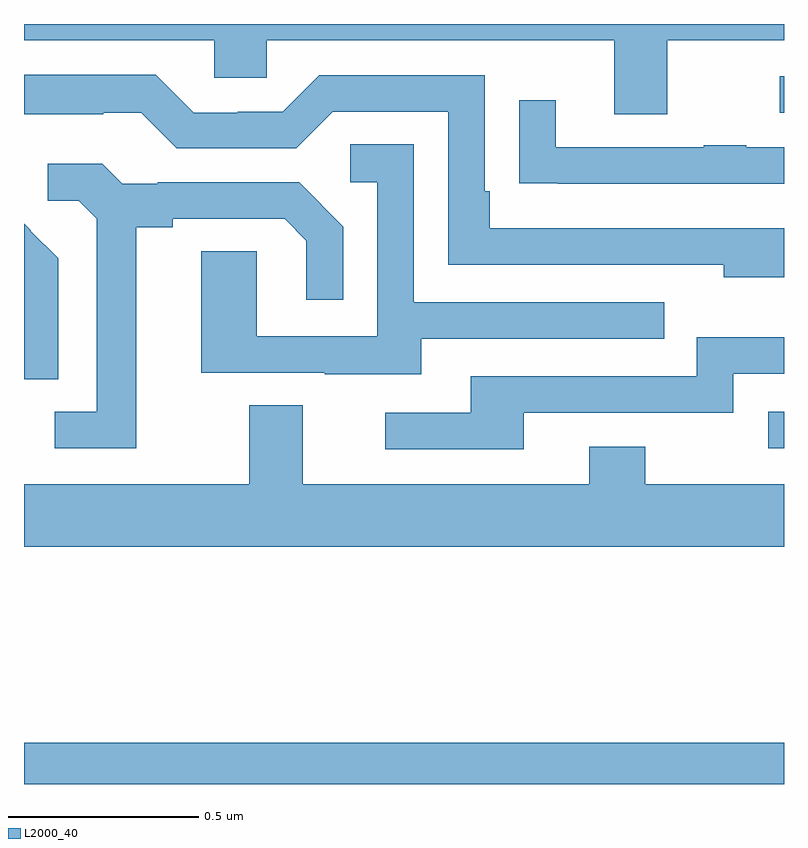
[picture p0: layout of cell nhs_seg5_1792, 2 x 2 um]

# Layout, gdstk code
import gdstk
lib = gdstk.Library(unit=1e-6, precision=1e-09)
def R(c, l, rs):  # rectangles x0, y0, x1, y1
    for r in rs: c.add(gdstk.rectangle(r[:2], r[2:], *l))
def P(c, l, *ps):  # polygons
    for p in ps: c.add(gdstk.Polygon(p, *l))
L2000_40 = (2000, 40)

nhs_seg5_1792 = lib.new_cell('nhs_seg5_1792')
R(nhs_seg5_1792, L2000_40, [(135,858.799,137,858.908), (136.959,859.683,137,859.779), (136.989,860.565,137,860.661)])
P(nhs_seg5_1792, L2000_40, [(136.693,860.756),(137,860.756),(137,860.799),(135,860.799),(135,860.756),(135.501,860.756),(135.501,860.658),(135.639,860.658),(135.639,860.756),(136.553,860.756),(136.553,860.562),(136.693,860.562)],
  [(137,860.262),(136.225,860.262),(136.225,860.359),(136.212,860.359),(136.212,860.664),(135.777,860.664),(135.681,860.568),(135.563,860.568),(135.563,860.565),(135.447,860.565),(135.347,860.665),(135,860.665),(135,860.561),(135.209,860.561),(135.209,860.565),(135.309,860.565),(135.402,860.472),(135.717,860.472),(135.813,860.568),(136.116,860.568),(136.116,860.166),(136.841,860.166),(136.841,860.132),(137,860.132)],
  [(137,860.475),(136.901,860.475),(136.901,860.48),(136.789,860.48),(136.789,860.475),(136.399,860.475),(136.399,860.599),(136.303,860.599),(136.303,860.38),(136.405,860.38),(136.405,860.379),(137,860.379)],
  [(136.045,859.971),(136.685,859.971),(136.685,860.067),(136.026,860.067),(136.026,860.483),(135.858,860.483),(135.858,860.382),(135.93,860.382),(135.93,859.977),(135.612,859.977),(135.612,860.201),(135.467,860.201),(135.467,859.881),(135.791,859.881),(135.791,859.877),(136.045,859.877)],
  [(135.295,860.264),(135.391,860.264),(135.391,860.286),(135.686,860.286),(135.743,860.229),(135.743,860.073),(135.84,860.073),(135.84,860.266),(135.724,860.382),(135.352,860.382),(135.352,860.379),(135.258,860.379),(135.206,860.431),(135.063,860.431),(135.063,860.334),(135.144,860.334),(135.191,860.287),(135.191,859.779),(135.081,859.779),(135.081,859.683),(135.295,859.683)],
  [(135.09,860.182),(135.017,860.255),(135.018,860.256),(135,860.274),(135,859.864),(135.09,859.864)],
  [(136.315,859.776),(136.866,859.776),(136.866,859.878),(137,859.878),(137,859.975),(136.77,859.975),(136.77,859.872),(136.175,859.872),(136.175,859.776),(135.951,859.776),(135.951,859.68),(136.315,859.68)],
  [(137,859.588),(136.635,859.588),(136.635,859.687),(136.487,859.687),(136.487,859.588),(135.733,859.588),(135.733,859.796),(135.593,859.796),(135.593,859.588),(135,859.588),(135,859.424),(137,859.424)])

lib.write_gds('nhs_seg5_1792.gds')
